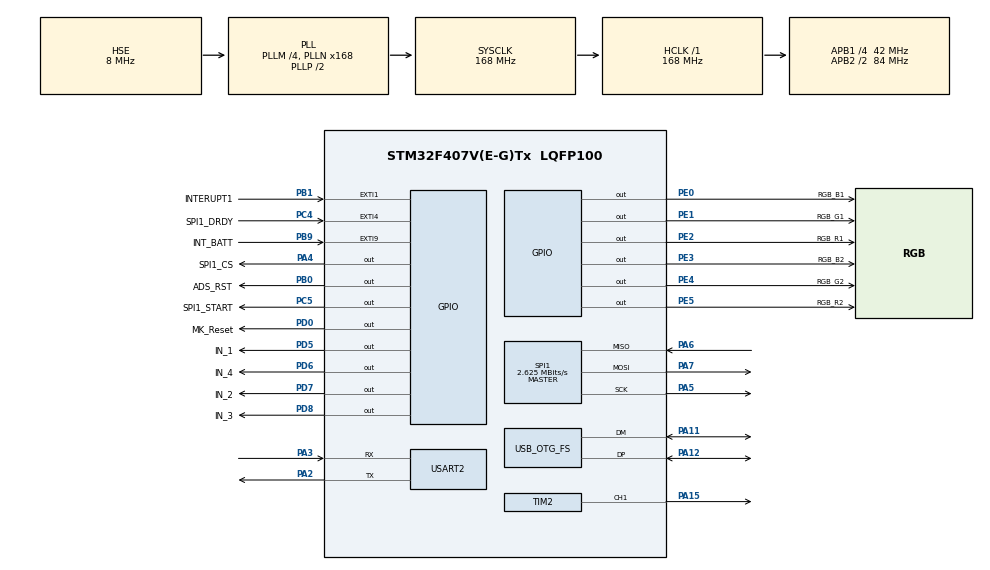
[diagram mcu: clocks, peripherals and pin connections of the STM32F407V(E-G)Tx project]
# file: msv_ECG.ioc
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Dma.Request0=TIM2_CH1
Dma.TIM2_CH1.0.Direction=DMA_MEMORY_TO_PERIPH
Dma.TIM2_CH1.0.FIFOMode=DMA_FIFOMODE_DISABLE
Dma.TIM2_CH1.0.Instance=DMA1_Stream5
Dma.TIM2_CH1.0.MemDataAlignment=DMA_MDATAALIGN_WORD
Dma.TIM2_CH1.0.MemInc=DMA_MINC_ENABLE
Dma.TIM2_CH1.0.Mode=DMA_NORMAL
Dma.TIM2_CH1.0.PeriphDataAlignment=DMA_PDATAALIGN_WORD
Dma.TIM2_CH1.0.PeriphInc=DMA_PINC_DISABLE
Dma.TIM2_CH1.0.Priority=DMA_PRIORITY_HIGH
FREERTOS.INCLUDE_uxTaskGetStackHighWaterMark=0
FREERTOS.Queues01=ecgGraph1,3,float32_t,0,Dynamic,NULL,NULL;ecgGraph2,3,float32_t,0,Dynamic,NULL,NULL
FREERTOS.Tasks01=GraficarECG,1,256,tarea1,Default,NULL,Dynamic,NULL,NULL;RevisarComandos,1,128,tarea2,Default,NULL,Dynamic,NULL,NULL;RevisarElectrodos,0,128,tarea3,Default,NULL,Dynamic,NULL,NULL;ControlNeopixel,0,128,tarea4,Default,NULL,Dynamic,NULL,NULL;Normalizacion,0,256,tarea5,Default,NULL,Dynamic,NULL,NULL;ControlUSB,1,256,tarea6,Default,NULL,Dynamic,NULL,NULL;LeerADS,2,256,tarea0,Default,NULL,Dynamic,NULL,NULL;Respiracion,0,256,tarea7,Default,NULL,Dynamic,NULL,NULL;FrecuenciaCardiaca,0,256,tarea8,Default,NULL,Dynamic,NULL,NULL;CalcularOffset,1,128,tarea9,Default,NULL,Dynamic,NULL,NULL
FREERTOS.Timers01=timerOne,timerOneCallback,osTimerPeriodic,Default,NULL,Dynamic,NULL
FREERTOS.configENABLE_FPU=1
FREERTOS.configMAX_TASK_NAME_LEN=32
FREERTOS.configMINIMAL_STACK_SIZE=64
FREERTOS.configTIMER_QUEUE_LENGTH=3
FREERTOS.configTIMER_TASK_PRIORITY=5
FREERTOS.configTIMER_TASK_STACK_DEPTH=256
FREERTOS.configUSE_NEWLIB_REENTRANT=1
FREERTOS.configUSE_TIMERS=1
Mcu.Family=STM32F4
Mcu.Name=STM32F407V(E-G)Tx
Mcu.Package=LQFP100
NVIC.DMA1_Stream5_IRQn=true\:5\:0\:false\:false\:true\:true\:false\:true\:true
NVIC.EXTI1_IRQn=true\:5\:0\:false\:false\:true\:true\:true\:true\:true
NVIC.EXTI4_IRQn=true\:5\:0\:false\:false\:true\:true\:true\:true\:true
NVIC.EXTI9_5_IRQn=true\:5\:0\:false\:false\:true\:true\:true\:true\:true
NVIC.OTG_FS_IRQn=true\:5\:0\:false\:false\:true\:true\:false\:true\:true
NVIC.PriorityGroup=NVIC_PRIORITYGROUP_4
NVIC.SPI1_IRQn=true\:5\:0\:false\:false\:true\:true\:true\:true\:true
NVIC.TIM8_TRG_COM_TIM14_IRQn=true\:15\:0\:false\:false\:true\:false\:false\:true\:true
NVIC.TimeBase=TIM8_TRG_COM_TIM14_IRQn
NVIC.TimeBaseIP=TIM14
NVIC.USART2_IRQn=true\:5\:0\:false\:false\:true\:true\:true\:true\:true
PA11.Mode=Device_Only
PA11.Signal=USB_OTG_FS_DM
PA12.Mode=Device_Only
PA12.Signal=USB_OTG_FS_DP
PA13.Mode=Serial_Wire
PA13.Signal=SYS_JTMS-SWDIO
PA14.Mode=Serial_Wire
PA14.Signal=SYS_JTCK-SWCLK
PA15.Signal=S_TIM2_CH1_ETR
PA2.Mode=Asynchronous
PA2.Signal=USART2_TX
PA3.Mode=Asynchronous
PA3.Signal=USART2_RX
PA4.GPIO_Label=SPI1_CS
PA4.PinState=GPIO_PIN_SET
PA4.Signal=GPIO_Output
PA5.Mode=Full_Duplex_Master
PA5.Signal=SPI1_SCK
PA6.Mode=Full_Duplex_Master
PA6.Signal=SPI1_MISO
PA7.Mode=Full_Duplex_Master
PA7.Signal=SPI1_MOSI
PB0.GPIO_Label=ADS_RST
PB0.GPIO_Speed=GPIO_SPEED_FREQ_VERY_HIGH
PB0.Signal=GPIO_Output
PB1.GPIO_Label=INTERUPT1
PB1.GPIO_ModeDefaultEXTI=GPIO_MODE_IT_FALLING
PB1.GPIO_PuPd=GPIO_PULLUP
PB1.Signal=GPXTI1
PB13.GPIO_PuPd=GPIO_PULLUP
PB13.Signal=SPI2_SCK
PB14.GPIO_PuPd=GPIO_PULLUP
PB14.Signal=SPI2_MISO
PB15.GPIO_PuPd=GPIO_PULLUP
PB15.Signal=SPI2_MOSI
PB9.GPIO_Label=INT_BATT
PB9.GPIO_ModeDefaultEXTI=GPIO_MODE_IT_FALLING
PB9.GPIO_PuPd=GPIO_PULLUP
PB9.Signal=GPXTI9
PC4.GPIO_Label=SPI1_DRDY
PC4.GPIO_ModeDefaultEXTI=GPIO_MODE_IT_FALLING
PC4.GPIO_PuPd=GPIO_PULLUP
PC4.Signal=GPXTI4
PC5.GPIO_Label=SPI1_START
PC5.GPIO_ModeDefaultOutputPP=GPIO_MODE_OUTPUT_PP
PC5.PinState=GPIO_PIN_RESET
PC5.Signal=GPIO_Output
PD0.GPIO_Label=MK_Reset
PD0.Signal=GPIO_Output
PD5.GPIO_Label=IN_1
PD5.GPIO_PuPd=GPIO_PULLUP
PD5.PinState=GPIO_PIN_SET
PD5.Signal=GPIO_Output
PD6.GPIO_Label=IN_4
PD6.Signal=GPIO_Output
PD7.GPIO_Label=IN_2
PD7.Signal=GPIO_Output
PD8.GPIO_Label=IN_3
PD8.Signal=GPIO_Output
PE0.GPIO_Label=RGB_B1
PE0.PinState=GPIO_PIN_SET
PE0.Signal=GPIO_Output
PE1.GPIO_Label=RGB_G1
PE1.PinState=GPIO_PIN_SET
PE1.Signal=GPIO_Output
PE2.GPIO_Label=RGB_R1
PE2.PinState=GPIO_PIN_SET
PE2.Signal=GPIO_Output
PE3.GPIO_Label=RGB_B2
PE3.PinState=GPIO_PIN_SET
PE3.Signal=GPIO_Output
PE4.GPIO_Label=RGB_G2
PE4.PinState=GPIO_PIN_SET
PE4.Signal=GPIO_Output
PE5.GPIO_Label=RGB_R2
PE5.PinState=GPIO_PIN_SET
PE5.Signal=GPIO_Output
PH0-OSC_IN.Mode=HSE-External-Oscillator
PH0-OSC_IN.Signal=RCC_OSC_IN
PH1-OSC_OUT.Mode=HSE-External-Oscillator
PH1-OSC_OUT.Signal=RCC_OSC_OUT
ProjectManager.HeapSize=0x200
ProjectManager.StackSize=0x400
ProjectManager.TargetToolchain=STM32CubeIDE
RCC.48MHZClocksFreq_Value=48000000
RCC.AHBFreq_Value=168000000
RCC.APB1CLKDivider=RCC_HCLK_DIV4
RCC.APB1Freq_Value=42000000
RCC.APB1TimFreq_Value=84000000
RCC.APB2CLKDivider=RCC_HCLK_DIV2
RCC.APB2Freq_Value=84000000
RCC.APB2TimFreq_Value=168000000
RCC.CortexFreq_Value=168000000
RCC.HCLKFreq_Value=168000000
RCC.HSE_VALUE=8000000
RCC.HSI_VALUE=16000000
RCC.LSE_VALUE=32768
RCC.PLLM=4
RCC.PLLN=168
RCC.PLLQ=7
RCC.SYSCLKFreq_VALUE=168000000
RCC.SYSCLKSource=RCC_SYSCLKSOURCE_PLLCLK
RCC.VCOOutputFreq_Value=336000000
SH.S_TIM2_CH1_ETR.0=TIM2_CH1,PWM Generation1 CH1
SPI1.BaudRatePrescaler=SPI_BAUDRATEPRESCALER_32
SPI1.CLKPhase=SPI_PHASE_2EDGE
SPI1.CalculateBaudRate=2.625 MBits/s
SPI1.Direction=SPI_DIRECTION_2LINES
SPI1.Mode=SPI_MODE_MASTER
SPI1.VirtualType=VM_MASTER
TIM13.Period=0xffff
TIM13.Prescaler=42-1
TIM2.Channel-PWM\ Generation1\ CH1=TIM_CHANNEL_1
TIM2.Period=104
USART2.VirtualMode=VM_ASYNC
USB_DEVICE.CLASS_NAME_FS=CDC
USB_DEVICE.VirtualMode-CDC_FS=Cdc
USB_DEVICE.VirtualModeFS=Cdc_FS
USB_OTG_FS.VirtualMode=Device_Only
VP_FREERTOS_VS_CMSIS_V1.Mode=CMSIS_V1
VP_SYS_VS_tim14.Mode=TIM14
VP_TIM13_VS_ClockSourceINT.Mode=Enable_Timer
VP_TIM2_VS_ClockSourceINT.Mode=Internal
VP_USB_DEVICE_VS_USB_DEVICE_CDC_FS.Mode=CDC_FS
board=custom

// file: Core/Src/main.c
/* USER CODE BEGIN Header */
/**
  ******************************************************************************
  * @file           : main.c
  * @brief          : Main program body
  ******************************************************************************
  * @attention
  *
  * Copyright (c) 2022 STMicroelectronics.
  * All rights reserved.
  *
  * This software is licensed under terms that can be found in the LICENSE file
  * in the root directory of this software component.
  * If no LICENSE file comes with this software, it is provided AS-IS.
  *
  ******************************************************************************
  */
/* USER CODE END Header */
#include "main.h"
#include "cmsis_os.h"
#include "dma.h"
#include "spi.h"
#include "tim.h"
#include "usart.h"
#include "usb_device.h"
#include "gpio.h"

void SystemClock_Config(void);
void MX_FREERTOS_Init(void);

int main(void)
{

  /* MCU Configuration--------------------------------------------------------*/

  /* Reset of all peripherals, Initializes the Flash interface and the Systick. */
  HAL_Init();

  /* Configure the system clock */
  SystemClock_Config();

  /* Initialize all configured peripherals */
  MX_GPIO_Init();
  MX_DMA_Init();
  MX_SPI1_Init();
  MX_TIM13_Init();
  MX_TIM2_Init();
  MX_USART2_UART_Init();

  /* Call init function for freertos objects (in freertos.c) */
  MX_FREERTOS_Init();

  /* Start scheduler */
  osKernelStart();

  /* We should never get here as control is now taken by the scheduler */
  /* Infinite loop */
  while (1)
  {

  }
}

void SystemClock_Config(void)
{
  RCC_OscInitTypeDef RCC_OscInitStruct = {0};
  RCC_ClkInitTypeDef RCC_ClkInitStruct = {0};

  /** Configure the main internal regulator output voltage
  */
  __HAL_RCC_PWR_CLK_ENABLE();
  __HAL_PWR_VOLTAGESCALING_CONFIG(PWR_REGULATOR_VOLTAGE_SCALE1);

  /** Initializes the RCC Oscillators according to the specified parameters
  * in the RCC_OscInitTypeDef structure.
  */
  RCC_OscInitStruct.OscillatorType = RCC_OSCILLATORTYPE_HSE;
  RCC_OscInitStruct.HSEState = RCC_HSE_ON;
  RCC_OscInitStruct.PLL.PLLState = RCC_PLL_ON;
  RCC_OscInitStruct.PLL.PLLSource = RCC_PLLSOURCE_HSE;
  RCC_OscInitStruct.PLL.PLLM = 4;
  RCC_OscInitStruct.PLL.PLLN = 168;
  RCC_OscInitStruct.PLL.PLLP = RCC_PLLP_DIV2;
  RCC_OscInitStruct.PLL.PLLQ = 7;
  if (HAL_RCC_OscConfig(&RCC_OscInitStruct) != HAL_OK)
  {
    Error_Handler();
  }

  /** Initializes the CPU, AHB and APB buses clocks
  */
  RCC_ClkInitStruct.ClockType = RCC_CLOCKTYPE_HCLK|RCC_CLOCKTYPE_SYSCLK
                              |RCC_CLOCKTYPE_PCLK1|RCC_CLOCKTYPE_PCLK2;
  RCC_ClkInitStruct.SYSCLKSource = RCC_SYSCLKSOURCE_PLLCLK;
  RCC_ClkInitStruct.AHBCLKDivider = RCC_SYSCLK_DIV1;
  RCC_ClkInitStruct.APB1CLKDivider = RCC_HCLK_DIV4;
  RCC_ClkInitStruct.APB2CLKDivider = RCC_HCLK_DIV2;

  if (HAL_RCC_ClockConfig(&RCC_ClkInitStruct, FLASH_LATENCY_5) != HAL_OK)
  {
    Error_Handler();
  }
}

void HAL_TIM_PeriodElapsedCallback(TIM_HandleTypeDef *htim)
{
  if (htim->Instance == TIM14) {
    HAL_IncTick();
  }
}

void Error_Handler(void)
{
  __disable_irq();
  while (1)
  {
  }
}

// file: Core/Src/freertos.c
/* USER CODE BEGIN Header */
/**
 ******************************************************************************
 * Autor:       Ing. Alejandra Sakura Bautista Ambrocio
 * Descripción: Código de aplicación FreeRTos para el funcionamiento del
 *              Monitor de Signos Vitales.
 ******************************************************************************
 * @attention
 *
 * Copyright (c) 2022 STMicroelectronics.
 * All rights reserved.
 *
 * This software is licensed under terms that can be found in the LICENSE file
 * in the root directory of this software component.
 * If no LICENSE file comes with this software, it is provided AS-IS.
 *
 * Circuito de marcapasos: Al utilizar los buffers PACE, no requiere ninguna tasa de muestreo en particular (es independiente de la configuración de muestreo).
 *
 * Comandos disponibles                         |            Formato               | Ejemplo
 * S: Iniciar                                   | S\n                              | S\n
 * E: Detener                                   | E\n                              | E\n
 * I: Informar versión de firmware              | I\n                              | I\n
 * G: Seleccionar derivaciones a graficar.      | G:'Derivada1','Derivada2'\n      | G:2,03\n
 * F: Seleccionar filtro para la derivada.      | F:[1|2],[N|D|M|A]                | F:1,A\n
 * 0: Alarma - Prioridad alta, color rojo.      | 0\n                              | 0\n
 * 1: Alarma - Prioridad media, color amarillo. | 1\n                              | 1\n
 * 2: Alarma - Prioridad baja, color blanco.    | 2\n                              | 2\n
 * 3: Alarma - Prioridad media, color azul.     | 3\n                              | 3\n
 * 4: Color sólido - Rojo.                      | 4\n                              | 4\n
 * 5: Color sólido - Amarillo.                  | 5\n                              | 5\n
 * 6: Color sólido - Verde.                     | 6\n                              | 6\n
 * 7: Color sólido - Negro (Apagar Leds).       | 7\n                              | 7\n
 * 8: Color sólido - Blanco.                    | 8\n                              | 8\n
 * B: Desactivar alarma de apnea.               | B\n                              | B\n
 * C: Activar alarma de apnea                   | C:'Tiempo'\n                     | C:10\n
 * P: Ping-Pong. Comunicción constante con PC   | P\n                              | P\n    ->  STM responde P\n
 *
 *
 *
 *
 * Lista de cambios:
 *
 * 1.0.0 - Primer versión estable.
 * 1.1.0 - Se agrega lectura del cargador de batería LTC4162.
 *         Se toma como base la librería que hice en Arduino.
 * 1.1.1 - Se agrega Tarea para el envío de mensajes USB.
 *         Debido a que el firmware de la raspberry está casado con la versión
 *         de firmware se mantiene 1.1.0 para que la raspberry trabaje. Si se
 *         cambia el número, la aplicación de la raspberry no hace nada.
 * 1.2.0 - Se cambia el algoritmo de respiración. Ultra-suavizado y uso de derivada.
 *         Se agrega un umbral (UMBRAL_RESPIRACION) a la derivada para evitar respiraciones fantasma.
 *         Se agrega el envío del estado del LTC4162.
 *         Se separan los mensajes en buffers "temporales" independientes para un correcto envío por USB.
 *         En las pruebas de observa que la detección de electrodos no es 100% fiable, por lo que se buscará mejorar la detección
 * 1.3.0 - Se cambia la configuración del ADS para 500sps en lectura continua,
 * 1.3.1 - ADS en 500sps HR, salida de datos 250 sps
 * 1.3.2 - Se elimina D:G1,G2,RESP\n
 *           * Cadena nueva, gráfica 1:   "A:G1\n"
 *           * Cadena nueva, gráfica 2:   "B:G2\n"
 *           * Cadena nueva, respiración: "C:RP\n"
 * 1.3.3 - Se elimina el monitoreo de la batería y se elimina el código referente a la batería
 *         tarea5 aún no eliminada, pero ya se vació.
 * 1.3.4 - Comienzo ordenación de código para agregar los filtros.
 *         Algunas variables y definiciones renombradas.
 *         Eliminación de la parte de respiración. Posteriormente se agregará el programa
 *         que está realizando Gabriela Morales.
 *         * Se agregan 4 instancias de filtro, 2 filtros "Ambulatorios" y 2 de "Diagnóstico para cada
 *           gráfica de ECG.
 *         * Comando nuevo. Selección del filtro del ECG:
 *           * Filtro de "diagnóstico" a la gráfica X: "F:Gx,D\n"
 *           * Filtro "Ambulatorio" a la gráfica X:    "F:Gx,A\n"
 *           * Sin filtro en la gŕafica X:             "F:Gx,0\n" //Para debug
 * 1.3.5 - Desde la versión 1.3.0 se deshabilitó la tarea de revisión de electrodos por el modo de trabajo del ADS.
 *         En esta versión se habilita
 * 1.3.6 - Se añaden valores dummy para la graficación de respiración. Para prueba de tener todas las cadenas necesarias
 *         para el software de la raspberry.
 *         Se cambia "Ambulatorio" por Monitor en el nombre de los filtros y lo relacionado.
 *         Cadena de Frecuencia respiratoria: "R:FR\n"
 *         Se corrige el color de los leds simples rgb, ya que el diagrama no coincide con loc componentes reales.
 *         A modo de debug, el led RGB1 se ilumina de acuerdo al último tipo de comando recibido como se indica:
 *           * Rojo     - Detener (o tarjeta recién encendida)
 *           * Verde    - Iniciar
 *           * Azul     - Solicitud de firmware
 *           * Cyan     - Selección de derivadas a graficar.
 *           * Magenta  - Selección del filtro a utilizar en una derivada.
 *           * Amarillo - Comando de alerta (color de tira de led y parpadeo). 0 a 3
 *           * Blanco   - Encender la tira led en color sólido (o apagar la tira). 4 a 8
 *         El led RGB2 se utiliza para mostrar el estado del muestreo:
 *           * Rojo  - Muestreo detenido.
 *           * Azul  - En espera de muestra.
 *           * Verde - Comenzando lectura del ADS.
 *         Al ser tan rápido el proceso de muestreo, cuando se activa la lectura del ADS
 *         pareciera que el led tiene un color cyan.
 *         Se acomoda el código del muestreo dentro de un if, para poder cumplir el punto anterior
 * 1.3.7 - Se comienza la modificación y prueba de los filtros ya que en las pruebas con simulador, los filtros parecían no
 *         estar funcionando adecuadamente.
 *         Se cambian los nombres a los componentes de los filtros: Instancias, estados, coeficientes.
 * 1.3.8 - Agrego filtro pasabajos de 60Hz a la señal NULL a petición de Víctor para ver como se comporta el equipo en pruebas.
 *         Probablemente se deba hacer un filtro rechaza-banda de 60Hz pero desconocemos el ancho de banda exacto.
 * 1.4.0 - Comienzo a añadir el código de Gaby Morales:
 *         Mensaje R:   Frecuencia Respiratoria
 *         Mensaje F:   Frecuencia Cardiaca
 *         Añadí buffers de FR y FC
 *         Coloqué los mensajes en la tarea 6
 *
 * 1.5.0 - Separación de FR y FC en archivos individuales
 * 1.5.1 - Comienzo Separación de la librería del ADS1298
 *         Separé las funciones de led simple rgb
 * 1.5.2 - Neopixel separado
 * 1.5.3 - Comienzo a separar tareas
 *
 * 1.6.0 - Tareas Separadas. Nueva estructura de tareas. Cada tarea tiene su
 *         propio archivo cabecera y fuente.
 *         | Tarea    | Nombre             | Archivos (.c/.h)         |
 *         | tarea0() | LeerADS            | tarea_LeerdADS           |
 *         | tarea1() | GraficarECG        | tarea_GraficarECG        |
 *         | tarea2() | RevisarComandos    | tarea_RevisarComandos    |
 *         | tarea3() | RevisarElectrodos  | tarea_RevisarElectrodos  |
 *         | tarea4() | ControlNeopixel    | tarea_ControlNeopixel    |
 *         | tarea5() | Normalización      | tarea_Normalización      |
 *         | tarea6() | ControlUSB         | tarea_ControlUSB         |
 *         | tarea7() | Respiracion        | tarea_Respiracion        |
 *         | tarea8() | FrecuenciaCardiaca | tarea_FrecuenciaCardiaca |
 *
 *         Se Realizan anotaciones actualizadas al código
 * 2 - La cantidad de tareas RTOS se define en main.h: #define TASK_COUNT "9"
 *     A partir de ahora se define 1 sólo número para la versión del archivo.
 *     Se cambia el formato de despliegue de información de firmware.
 *     Ahora es:
 *     I:STM,'VersiónPrincipal','#Tareas','VersionT0','VersionT1','VersionT2','VersionT3','VersionT4','VersionT5','VersionT6','VersionT7','VersionT8'\n
 *     Pej. I:STM,2,9,1,1,1,1,1,1,1,1,1\n
 *     Se cambia La letra de selección de filtro máximo de 'X' a 'A'
 *     Se añaden Queues para las gráficas de ECG 1 y 2, para asegurar que no hay corrupción en el dato a graficar
 *     Se sincronizan las tareas de procesamiento mediante la tarea de LeerADS.
 *     Se ajustan prioridades de tareas.
 *     En la lectura del ADS se agrega detección de error. Al parecer algunas
 *     veces el ADS enviaba los datos corridos 1 byte y eso ocacionaba el pico de ruido,
 *      Compruebo el encabezado de los 27 bytes y que los canales no utilizados contengan valor CERO
 *      Si no tuvieran el valor cero, indicaría que el dato se corrió o se leyó mal.
 *      Por ahora no tengo modo de corregir el dato, simplemente reenvío el último dato válido.
 *     En caso de dato erróneo, envío el último dato válido.
 *     Realizando pruebas, se generan errores cada 22.2 segundos. Agregué un Timer para reiniciar el ADS cada cierto tiempo para evitar que se genere el error
 *     y también permite la recuperación de la señal ECG, con 5 segundos va bien, pero en caso de que se pause la señal, siento que es mucho tiempo.
 *     voy a probar con 2 segundos o 1 segundo. Ocupar ADS_RESET_TIMER
 *
 *     Se trababa por un desbordamiento al leer array en Normalización. Ya se corrigió.
 *
 *     Tona agrega código sin documentar en varias partes del programa. Se intentará encontrar sus cambios
 *     para documentarlos.
 *
 *     ads1298.h:
 *         Se eliminó ads_Init(uint32_t initDelay) se mantiene void ads_Init(void)
 *     ads1298.c:
 *         ads_Init(void) -> Al configurar envío de datos se habilita mantiene osDelay(500)
 *     tarea_ControlUSB.c:
 *         Se eliminó 'extern int32_t ads_II_i; //debug'
 *         Se cambió la cadena de envío de gráfica 1
 *           Anterior:
 *             usbCountTotal += sprintf ((char*)pMSG + usbCountTotal,"dbg,%04li,%08lX,%08lX\nA:%.3f\n",error_cnt,ads_I_i,ads_II_i,g_queue1); //Raw I, deriv_sin filtro, gráfica
 *           Actual:
 *             usbCountTotal += sprintf ((char*)pMSG + usbCountTotal,"e,%li,a,%08lX\nA:%.3f\n",error_cnt,ads_I_i,g_queue1); //Raw I, deriv_sin filtro, gráfica
 *     tarea_LeerADS.c:
 *         en void tarea_LeerADS_Setup(void) se elimina 'osDelay(500);'
 *     tarea_Normalizacion.c:
 *         Seguirá cambiando debido a que aún trabajan con esta tarea.
 *     freertos.c:
 *         Actualización en control de cambios
 *         Se eliminan definiciones
 *             #define ADS_RESET_SECS   2
 *             #define ADS_RESET_TIMER  (ADS_RESET_SECS * 1000)
 *         Se inicia el timer de software con un valor fijo de 5 segundos
 *             'osTimerStart(TimerMinuteHandle, 5000);'
 *         Todo lo anterior se pudo evitar poniendo ADS_RESET_SECS = 5
 *
 *         Nueva variable 'bool flag_marcapasos_norm = false;'
 *         Se habilita 'tarea_Normalizacion_Loop();' en la tarea5 (normalización)
 *
 *        En el callback del timer ya no se reinicia el ads con 'ads_Init()' y 'ads_Start()'
 *        Ahora sólo 'ads_Stop()' y 'ads_Start()'
 *
 *        HAL_GPIO_EXTI_Callback (uint16_t GPIO_Pin):
 *            Se establece la bandera 'flag_marcapasos_norm = true'
 *            //////////////////////////////////////tona
 *            se modifico el calculo de la frecuencia cardiaca, se modifico la normalizacion, se modifico
 *            la revision de electrodos tambien se modifico leer ads
 *
 *
 ******************************************************************************
 */
/* USER CODE END Header */

#include "FreeRTOS.h"
#include "task.h"
#include "main.h"
#include "cmsis_os.h"

/* USER CODE BEGIN Includes */
#include <stdio.h>
#include <string.h>
#include <stdlib.h>
#include <arm_math.h>
#include "usbd_cdc_if.h"

#include "ads1298.h"         // Librerías de dispositivos
#include "led_rgb_simple.h"
#include "led_neopixel.h"

#include "tarea_LeerADS.h"            // Tarea 0
#include "tarea_GraficarECG.h"        // Tarea 1
#include "tarea_RevisarComandos.h"    // Tarea 2
#include "tarea_RevisarElectrodos.h"  // Tarea 3
#include "tarea_ControlNeopixel.h"    // Tarea 4
#include "tarea_Normalizacion.h"      // Tarea 5
#include "tarea_ControlUSB.h"         // Tarea 6
#include "tarea_Respiracion.h"        // Tarea 7
#include "tarea_FrecuenciaCardiaca.h" // Tarea 8
#include "tarea_CalcularOffset.h"     // Tarea 9

/* USER CODE END Includes */

/* USER CODE BEGIN PD */
#define FIRMWARE_VERSION "2"
#define TIM_ONE_RESET_SECS   1
#define TIM_ONE_RESET_VALUE  (TIM_ONE_RESET_SECS * 1000)
/* USER CODE END PD */

/* USER CODE BEGIN Variables */

//Dispositivos/variables externas
//extern I2C_HandleTypeDef hi2c1;
//extern I2C_HandleTypeDef hi2c3;
//extern SPI_HandleTypeDef hspi1;
//extern SPI_HandleTypeDef hspi2;

//                Variable                             |        Origen         |  Destino 1         | Destino 2           |
//                                                     |                       |                    |                     |
// Programa principal activo
bool flag_MSV_graficar = false;                        // Revisar Comandos     | EXTI               | Revisar Electrodos  |
// Selección de derivaciones a graficar
ecg_Graficas_s derivacionesAGraficar;                  // Revisar Comandos     | Graficar ECG       |                     |
// Activación de la alarma de apnea
bool flag_activa_apnea = false;                        // Revisar Comandos     | Respiración        |                     |
// Valor para la comprobación de apnea
int valor_apnea = 10;                                  // Revisar Comandos     | Respiración        |                     |
// Identificación del tipo de paceinte
uint8_t paciente_tipo = 0;		//0 - adulto, 1 - pediatrico, 3 - Neonato
// Tiempo para las alarmas intermitentes
neoPixel_RutinaPrioridad_t prioridadNeopixel = P_ALTA; // Revisar Comandos     | Control Neopixel   |                     |
// Modo de iluminación de la tira
neoPixel_RutinaModo_t modoLeds = MODO_NULO;            // Revisar Comandos     | Control Neopixel   |                     |
// Color de la tira
neoPixel_Colors_t colorLeds = C_NEGRO;                 // Revisar Comandos     | Control Neopixel   |                     |
// En modo parpadeo: Encender o apagar Leds
bool blink_ON = false;                                 // Revisar Comandos     | Control Neopixel   |                     |
// Cálculo del offset de la derivada I de ECG (RAW)
int64_t offsetRaw = 0;
// Bandera de latido para calcular offset RAW de Lead I
bool flag_Latido_Offset = false;
// Derivación I RAW
int32_t ads_I_i;                                       // Leer ADS             | Normalización      |                     |
// Derivación II RAW
int32_t ads_II_i;                                      // Leer ADS             | Normalización      |                     |
// Derivación I
float32_t ads_I_f;                                     // Leer ADS             | Graficar ECG       | Frecuencia Cardiaca |
// Derivación II
float32_t ads_II_f;                                    // Leer ADS             | Graficar ECG       |                     |
// Derivación III
float32_t ads_III_f;                                   // Leer ADS             | Graficar ECG       |                     |
// Valor de respiración
//  float32_t ads_Resp;     // YA NO SE USA 02/08/2023
int32_t ads_Resp_int;       // Agregado para dato de respiración
float original_res;// Leer ADS             | Respiración        |                     |
// Mandar información del firmware
bool flag_show_info = false;                           // Revisar Comandos     | Envío USB          |                     |
// Variable con la versión del firmware
char versionMain[] = FIRMWARE_VERSION;                 // -                    | Envío USB          |                     |
// Pulso de marcapasos detectado
bool flag_marcapasos = false;                          // EXTI (INTERUPT1_Pin) | Envío USB          |                     |
bool flag_marcapasos_norm = false;
int cont_flag_mk=0;
// Gráfica ECG 1
//osMessageQId ecgGraph1Handle;                        // Graficar ECG         | Envío USB          |                     |
// Gráfica ECG 2
//osMessageQId ecgGraph2Handle;                        // Graficar ECG         | Envío USB          |
// Información de frecuencia Cardiaca lista
bool flag_FrecC_BEEP_RDY = false;                      // Frecuencia Cardiaca  | Envío USB          |
// frecuencia cardiaca
int16_t frecuenciaCardiaca;                            // Frecuencia Cardiaca  | Envío USB          |
// Información de respiración lista
bool flag_Resp_RDY = false;                            // Respiración          | Envío USB          |
// Gráfica 3
float32_t graph3;                                      // Respiración          | Envío USB          |
int32_t  aux_grap_resp;
// Frecuencia respiratoria
float Respiration_Rate;                                // Respiración          | Envío USB          |
int variable_auxiliar;
float variable_auxiliar2;
// Alarma de apnea
bool  msgApnea;                                        // Respiración          | Envío USB          |
// Información de electrodos lista
bool flag_RevElec_RDY = false;                         // Revisar electrodos   | Envío USB          |
// Estado de RA
bool lead_1_RA;                                        // Revisar electrodos   | Envío USB          |
// Estado de LA
bool lead_2_LA;                                        // Revisar electrodos   | Envío USB          |
// Estado de RL
bool lead_3_RL;                                        // Revisar electrodos   | Envío USB          |
// Estado de LL
bool lead_4_LL;                                        // Revisar electrodos   | Envío USB          |
// Estado de V1
bool lead_5_V1;                                        // Revisar electrodos   | Envío USB          |
// Ping-Pong
bool flag_Ping = false;                                // Revisar Comandos     | Envío USB          |
int32_t aux_der=0;                            // Frecuencia Cardiaca  | Envío USB
int32_t aux_deb_norm;                                    // Leer ADS             | Graficar ECG |

int32_t error_cnt = 0; //debug_error
int      debug_ads=1010;

/* USER CODE END Variables */
osThreadId GraficarECGHandle;
osThreadId RevisarComandosHandle;
osThreadId RevisarElectrodosHandle;
osThreadId ControlNeopixelHandle;
osThreadId NormalizacionHandle;
osThreadId ControlUSBHandle;
osThreadId LeerADSHandle;
osThreadId RespiracionHandle;
osThreadId FrecuenciaCardiacaHandle;
osThreadId CalcularOffsetHandle;
osMessageQId ecgGraph1Handle;
osMessageQId ecgGraph2Handle;
osTimerId timerOneHandle;

void tarea1(void const * argument);
void tarea2(void const * argument);
void tarea3(void const * argument);
void tarea4(void const * argument);
void tarea5(void const * argument);
void tarea6(void const * argument);
void tarea0(void const * argument);
void tarea7(void const * argument);
void tarea8(void const * argument);
void tarea9(void const * argument);
void timerOneCallback(void const * argument);

extern void MX_USB_DEVICE_Init(void);
void MX_FREERTOS_Init(void); /* (MISRA C 2004 rule 8.1) */

/* GetIdleTaskMemory prototype (linked to static allocation support) */
void vApplicationGetIdleTaskMemory( StaticTask_t **ppxIdleTaskTCBBuffer, StackType_t **ppxIdleTaskStackBuffer, uint32_t *pulIdleTaskStackSize );

/* GetTimerTaskMemory prototype (linked to static allocation support) */
void vApplicationGetTimerTaskMemory( StaticTask_t **ppxTimerTaskTCBBuffer, StackType_t **ppxTimerTaskStackBuffer, uint32_t *pulTimerTaskStackSize );

/* USER CODE BEGIN GET_IDLE_TASK_MEMORY */
static StaticTask_t xIdleTaskTCBBuffer;
static StackType_t xIdleStack[configMINIMAL_STACK_SIZE];

void vApplicationGetIdleTaskMemory (StaticTask_t **ppxIdleTaskTCBBuffer,
                                    StackType_t **ppxIdleTaskStackBuffer,
                                    uint32_t *pulIdleTaskStackSize)
{
    *ppxIdleTaskTCBBuffer = &xIdleTaskTCBBuffer;
    *ppxIdleTaskStackBuffer = &xIdleStack[0];
    *pulIdleTaskStackSize = configMINIMAL_STACK_SIZE;
    /* place for user code */
}
/* USER CODE END GET_IDLE_TASK_MEMORY */

/* USER CODE BEGIN GET_TIMER_TASK_MEMORY */
static StaticTask_t xTimerTaskTCBBuffer;
static StackType_t xTimerStack[configTIMER_TASK_STACK_DEPTH];

void vApplicationGetTimerTaskMemory( StaticTask_t **ppxTimerTaskTCBBuffer, StackType_t **ppxTimerTaskStackBuffer, uint32_t *pulTimerTaskStackSize )
{
  *ppxTimerTaskTCBBuffer = &xTimerTaskTCBBuffer;
  *ppxTimerTaskStackBuffer = &xTimerStack[0];
  *pulTimerTaskStackSize = configTIMER_TASK_STACK_DEPTH;
  /* place for user code */
}
/* USER CODE END GET_TIMER_TASK_MEMORY */

void MX_FREERTOS_Init(void) {

  /* Create the timer(s) */
  /* definition and creation of timerOne */
  osTimerDef(timerOne, timerOneCallback);
  timerOneHandle = osTimerCreate(osTimer(timerOne), osTimerPeriodic, NULL);

  /* USER CODE BEGIN RTOS_TIMERS */
    /* start timers, add new ones, ... */
  osTimerStart(timerOneHandle, TIM_ONE_RESET_VALUE);
  /* USER CODE END RTOS_TIMERS */

  /* Create the queue(s) */
  /* definition and creation of ecgGraph1 */
  osMessageQDef(ecgGraph1, 3, float32_t);
  ecgGraph1Handle = osMessageCreate(osMessageQ(ecgGraph1), NULL);

  /* definition and creation of ecgGraph2 */
  osMessageQDef(ecgGraph2, 3, float32_t);
  ecgGraph2Handle = osMessageCreate(osMessageQ(ecgGraph2), NULL);

  /* Create the thread(s) */
  /* definition and creation of GraficarECG */
  osThreadDef(GraficarECG, tarea1, osPriorityAboveNormal, 0, 256);
  GraficarECGHandle = osThreadCreate(osThread(GraficarECG), NULL);

  /* definition and creation of RevisarComandos */
  osThreadDef(RevisarComandos, tarea2, osPriorityAboveNormal, 0, 128);
  RevisarComandosHandle = osThreadCreate(osThread(RevisarComandos), NULL);

  /* definition and creation of RevisarElectrodos */
  osThreadDef(RevisarElectrodos, tarea3, osPriorityNormal, 0, 128);
  RevisarElectrodosHandle = osThreadCreate(osThread(RevisarElectrodos), NULL);

  /* definition and creation of ControlNeopixel */
  osThreadDef(ControlNeopixel, tarea4, osPriorityNormal, 0, 128);
  ControlNeopixelHandle = osThreadCreate(osThread(ControlNeopixel), NULL);

  /* definition and creation of Normalizacion */
  osThreadDef(Normalizacion, tarea5, osPriorityNormal, 0, 256);
  NormalizacionHandle = osThreadCreate(osThread(Normalizacion), NULL);

  /* definition and creation of ControlUSB */
  osThreadDef(ControlUSB, tarea6, osPriorityAboveNormal, 0, 256);
  ControlUSBHandle = osThreadCreate(osThread(ControlUSB), NULL);

  /* definition and creation of LeerADS */
  osThreadDef(LeerADS, tarea0, osPriorityHigh, 0, 256);
  LeerADSHandle = osThreadCreate(osThread(LeerADS), NULL);

  /* definition and creation of Respiracion */
  osThreadDef(Respiracion, tarea7, osPriorityNormal, 0, 256);
  RespiracionHandle = osThreadCreate(osThread(Respiracion), NULL);

  /* definition and creation of FrecuenciaCardiaca */
  osThreadDef(FrecuenciaCardiaca, tarea8, osPriorityNormal, 0, 256);
  FrecuenciaCardiacaHandle = osThreadCreate(osThread(FrecuenciaCardiaca), NULL);

  /* definition and creation of CalcularOffset */
  osThreadDef(CalcularOffset, tarea9, osPriorityAboveNormal, 0, 128);
  CalcularOffsetHandle = osThreadCreate(osThread(CalcularOffset), NULL);

}

void tarea1(void const * argument)
{
  /* init code for USB_DEVICE */
  MX_USB_DEVICE_Init();
  /* USER CODE BEGIN tarea1 */
    tarea_GraficarECG_Setup ();
    for (;;)
        {
            osSignalWait (1, osWaitForever);
            tarea_GraficarECG_Loop ();
        }
  /* USER CODE END tarea1 */
}

void tarea2(void const * argument)
{
  /* USER CODE BEGIN tarea2 */
    tarea_RevisarComandos_Setup ();

    for (;;)
        {
            tarea_RevisarComandos_Loop();
        }
  /* USER CODE END tarea2 */
}

void tarea3(void const * argument)
{
  /* USER CODE BEGIN tarea3 */
    tarea_RevisarElectrodos_Setup();
    for (;;)
        {
            osSignalWait (1, osWaitForever);
            tarea_RevisarElectrodos_Loop();
        }
  /* USER CODE END tarea3 */
}

void tarea4(void const * argument)
{
  /* USER CODE BEGIN tarea4 */
    tarea_ControlNeopixel_Setup();
    for (;;)
        {
            tarea_ControlNeopixel_Loop ();
        }
  /* USER CODE END tarea4 */
}

void tarea5(void const * argument)
{
  /* USER CODE BEGIN tarea5 */
    tarea_Normalizacion_Setup();
    for (;;)
        {
            osSignalWait(1, osWaitForever);
            tarea_Normalizacion_Loop();
        }
  /* USER CODE END tarea5 */
}

void tarea6(void const * argument)
{
  /* USER CODE BEGIN tarea6 */

    tarea_EnvioUSB_Setup();
    for (;;)
        {
            tarea_EnvioUSB_Loop();
        }
  /* USER CODE END tarea6 */
}

void tarea0(void const * argument)
{
  /* USER CODE BEGIN tarea0 */
    //Setup
	debug_ads=804;
    tarea_LeerADS_Setup ();
    debug_ads=805;
    //Loop
    for (;;)
        {
    		debug_ads=806;
            osSignalWait (1, osWaitForever);
            debug_ads=807;
            tarea_LeerADS_Loop ();
            debug_ads=808;
            //osSignalWait (1, osWaitForever);
            //osSignalWait (1, 0x80);
            //debug_ads=807;
        }
  /* USER CODE END tarea0 */
}

void tarea7(void const * argument)
{
  /* USER CODE BEGIN tarea7 */
    tarea_Respiracion_Setup ();
    for (;;)
        {
            osSignalWait (1, osWaitForever);
            tarea_Respiracion_Loop ();
        }
  /* USER CODE END tarea7 */
}

void tarea8(void const * argument)
{
  /* USER CODE BEGIN tarea8 */
    tarea_FrecuenciaCardiaca_Setup();
  for(;;)
  {
          osSignalWait(1, osWaitForever);
          tarea_FrecuenciaCardiaca_Loop ();
  }
  /* USER CODE END tarea8 */
}

void tarea9(void const * argument)
{
  /* USER CODE BEGIN tarea9 */
    //Tarea cada 250sps en el ciclo don de NO está Calcular Frecuencia Cardiaca
    tarea_CalcularOffset_Setup ();
  for(;;)
  {
    osSignalWait(1, osWaitForever);
    tarea_CalcularOffset_Loop ();
  }
  /* USER CODE END tarea9 */
}

/* timerOneCallback function */
void timerOneCallback(void const * argument)
{
  /* USER CODE BEGIN timerOneCallback */
    /* Este timer se encarga de detener e iniciar las lecturas en el ADS1298R
     * de manera que evitamos el error de cada 22 segundos*/
    if (flag_MSV_graficar)
        {
            // flag_ADS_DRDY es true mientras se está leyendo el ADS
            // flag_ADS_DRDY es false después de leer el dato, así evitamos corromper la lectura del ADS
            // Si aún se está leyendo el ADS, esperamos a que se libere
            // También se pudiera usar un semáforo

            // Deshabilitar la interrupción para LeerADS
            // Con esto evitamos que haya más solicitudes de lectura del ADS, se desahoga la lectura
            // actual en caso de haber, y se procede a un stop-start seguro del ADS.
            /*
            flag_MSV_graficar = false;      // Evitar más interrupciones
            bool tmp_stat = ads_IntStat (); // Esperar que se desocupe el ADS en caso de estar ocupado
            while (tmp_stat)
                {
                    osDelay (1);
                    tmp_stat = ads_IntStat ();
                }
            // Parar-Iniciar el ADS
            ads_Stop ();
            error_cnt = 0;
            ads_Start ();
            // Volver a habilitar interrupciones y lecturas del ADS
            flag_MSV_graficar = true;
            */

            ////////////////////////////////////////
            // Reset completo del ADS

            flag_MSV_graficar = false;      // Evitar interrupciones
            bool tmp_stat = ads_IntStat (); // Esperar que se desocupe el ADS en caso de estar ocupado
            while (tmp_stat)
                {
                    osDelay (1);
                    tmp_stat = ads_IntStat ();
                }
            //ads_Stop ();                    // El ADS está en modo RDATAC, se requiere SDATAC antes de cualquier comando.
            //adsCmd_reset();                 // Reset por software. ya incluye el tiempo requerido por el reset
            //ads_reset_byPin();
            //HAL_GPIO_WritePin(ADS_RST_GPIO_Port, ADS_RST_Pin, GPIO_PIN_RESET);
            //HAL_GPIO_TogglePin(RGB_R2_GPIO_Port,RGB_R2_Pin);
            //osDelay(1);
            ads_Init();                     // Inicializar nuevamente el ADS
            error_cnt = 0;
            ads_Start ();                   // Iniciar las lecturas otra vez
            flag_MSV_graficar = true;       // Volver a habilitar interrupciones y lecturas del ADS

            ////////////////////////////////////////

        }

  /* USER CODE END timerOneCallback */
}

/* USER CODE BEGIN Application */

/* Podemos tener interrupción por el ADS o por el marcapasos */
void HAL_GPIO_EXTI_Callback (uint16_t GPIO_Pin)
{
    // En caso del marcapasos y ADS, solo se informará cuando se habilite la lectura
	//HAL_GPIO_WritePin(GPIOE,RGB_B1_Pin, GPIO_PIN_SET);
	//HAL_GPIO_TogglePin(GPIOE, RGB_B1_Pin);
    // 'flag_MSV_graficar == true'
    if (flag_MSV_graficar)
        {
            // Interrupción de ADS
            if (GPIO_Pin == SPI1_DRDY_Pin)
                {
                    ads_IntTrue ();
                    osSignalSet (LeerADSHandle, 1);
                }
            //Interrupción por marcapasos
            if (GPIO_Pin == INTERUPT1_Pin)
                {
                    flag_marcapasos = true;
                    flag_marcapasos_norm = true;
                    cont_flag_mk=0;
                }
        }
}
//void HAL_I2C_MasterTxCpltCallback (I2C_HandleTypeDef *hi2c)
//{
//}
//void HAL_I2C_MasterRxCpltCallback (I2C_HandleTypeDef *hi2c)
//{
//}

int8_t findStr (const char *str1, const char *str2)
{
    int8_t indice = -1;
    if (strstr (str1, str2) == NULL)
        {
            return indice;
        }
    else
        {
            char *pos = strstr (str1, str2);
            indice = (pos - str1);
            return indice;
        }
}

int32_t map (int32_t valor, int32_t in_min, int32_t in_max, int32_t out_min,
             int32_t out_max)
{
    uint32_t resultado = (valor - in_min) * (out_max - out_min)
            / (in_max - in_min) + out_min;
    return resultado;
}

/* USER CODE END Application */
